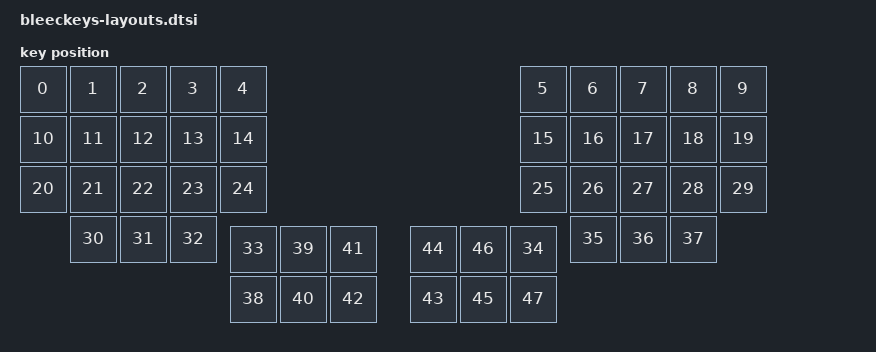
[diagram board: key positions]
#include <physical_layouts.dtsi>

/ {
    physical_layout0: physical_layout_0 {
        compatible = "zmk,physical-layout";
        display-name = "Default";

        kscan = <&kscan0>;
        
        transform = <&default_transform>;

        keys  //                     w   h    x    y     rot    rx    ry
            = <&key_physical_attrs 100 100    0    0       0     0     0>
            , <&key_physical_attrs 100 100  100    0       0     0     0>
            , <&key_physical_attrs 100 100  200    0       0     0     0>
            , <&key_physical_attrs 100 100  300    0       0     0     0>
            , <&key_physical_attrs 100 100  400    0       0     0     0>
            , <&key_physical_attrs 100 100 1000    0       0     0     0>
            , <&key_physical_attrs 100 100 1100    0       0     0     0>
            , <&key_physical_attrs 100 100 1200    0       0     0     0>
            , <&key_physical_attrs 100 100 1300    0       0     0     0>
            , <&key_physical_attrs 100 100 1400    0       0     0     0>
            , <&key_physical_attrs 100 100    0  100       0     0     0>
            , <&key_physical_attrs 100 100  100  100       0     0     0>
            , <&key_physical_attrs 100 100  200  100       0     0     0>
            , <&key_physical_attrs 100 100  300  100       0     0     0>
            , <&key_physical_attrs 100 100  400  100       0     0     0>
            , <&key_physical_attrs 100 100 1000  100       0     0     0>
            , <&key_physical_attrs 100 100 1100  100       0     0     0>
            , <&key_physical_attrs 100 100 1200  100       0     0     0>
            , <&key_physical_attrs 100 100 1300  100       0     0     0>
            , <&key_physical_attrs 100 100 1400  100       0     0     0>
            , <&key_physical_attrs 100 100    0  200       0     0     0>
            , <&key_physical_attrs 100 100  100  200       0     0     0>
            , <&key_physical_attrs 100 100  200  200       0     0     0>
            , <&key_physical_attrs 100 100  300  200       0     0     0>
            , <&key_physical_attrs 100 100  400  200       0     0     0>
            , <&key_physical_attrs 100 100 1000  200       0     0     0>
            , <&key_physical_attrs 100 100 1100  200       0     0     0>
            , <&key_physical_attrs 100 100 1200  200       0     0     0>
            , <&key_physical_attrs 100 100 1300  200       0     0     0>
            , <&key_physical_attrs 100 100 1400  200       0     0     0>
            , <&key_physical_attrs 100 100  100  300       0     0     0>
            , <&key_physical_attrs 100 100  200  300       0     0     0>
            , <&key_physical_attrs 100 100  300  300       0     0     0>
            , <&key_physical_attrs 100 100  420  320       0     0     0>
            , <&key_physical_attrs 100 100  980  320       0     0     0>
            , <&key_physical_attrs 100 100 1100  300       0     0     0>
            , <&key_physical_attrs 100 100 1200  300       0     0     0>
            , <&key_physical_attrs 100 100 1300  300       0     0     0>
            , <&key_physical_attrs 100 100  420  420       0     0     0>
            , <&key_physical_attrs 100 100  520  320       0     0     0>
            , <&key_physical_attrs 100 100  520  420       0     0     0>
            , <&key_physical_attrs 100 100  620  320       0     0     0>
            , <&key_physical_attrs 100 100  620  420       0     0     0>
            , <&key_physical_attrs 100 100  780  420       0     0     0>
            , <&key_physical_attrs 100 100  780  320       0     0     0>
            , <&key_physical_attrs 100 100  880  420       0     0     0>
            , <&key_physical_attrs 100 100  880  320       0     0     0>
            , <&key_physical_attrs 100 100  980  420       0     0     0>
            ;
    };
};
